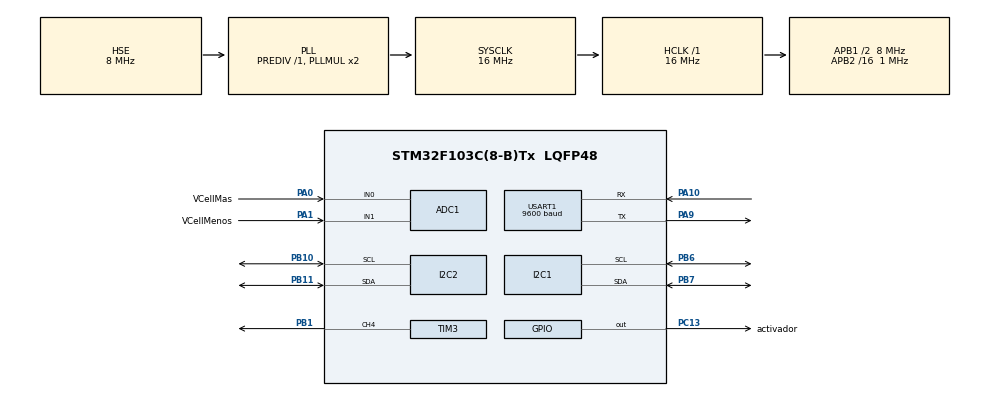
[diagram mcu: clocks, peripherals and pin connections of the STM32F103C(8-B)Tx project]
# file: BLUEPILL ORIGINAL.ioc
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ADC1.Channel-0\#ChannelRegularConversion=ADC_CHANNEL_0
ADC1.Channel-1\#ChannelRegularConversion=ADC_CHANNEL_1
ADC1.ContinuousConvMode=ENABLE
ADC1.EnableInjectedConversion=DISABLE
ADC1.InjNumberOfConversion=2
ADC1.NbrOfConversion=2
ADC1.NbrOfConversionFlag=1
ADC1.Rank-0\#ChannelRegularConversion=1
ADC1.Rank-1\#ChannelRegularConversion=2
ADC1.SamplingTime-0\#ChannelRegularConversion=ADC_SAMPLETIME_239CYCLES_5
ADC1.SamplingTime-1\#ChannelRegularConversion=ADC_SAMPLETIME_239CYCLES_5
ADC1.master=1
Dma.ADC1.0.Direction=DMA_PERIPH_TO_MEMORY
Dma.ADC1.0.Instance=DMA1_Channel1
Dma.ADC1.0.MemDataAlignment=DMA_MDATAALIGN_HALFWORD
Dma.ADC1.0.MemInc=DMA_MINC_ENABLE
Dma.ADC1.0.Mode=DMA_CIRCULAR
Dma.ADC1.0.PeriphDataAlignment=DMA_PDATAALIGN_HALFWORD
Dma.ADC1.0.PeriphInc=DMA_PINC_DISABLE
Dma.ADC1.0.Priority=DMA_PRIORITY_LOW
Dma.Request0=ADC1
Mcu.Family=STM32F1
Mcu.Name=STM32F103C(8-B)Tx
Mcu.Package=LQFP48
NVIC.ADC1_2_IRQn=true\:1\:0\:true\:false\:true\:true\:true\:true
NVIC.DMA1_Channel1_IRQn=true\:1\:0\:true\:false\:true\:false\:true\:true
NVIC.PriorityGroup=NVIC_PRIORITYGROUP_4
NVIC.TIM2_IRQn=true\:0\:0\:false\:false\:true\:true\:true\:true
NVIC.TIM3_IRQn=true\:0\:0\:false\:false\:true\:true\:true\:true
PA0-WKUP.GPIO_Label=VCellMas
PA0-WKUP.Signal=ADCx_IN0
PA1.GPIO_Label=VCellMenos
PA1.Signal=ADCx_IN1
PA10.Mode=Asynchronous
PA10.Signal=USART1_RX
PA13.Mode=Serial_Wire
PA13.Signal=SYS_JTMS-SWDIO
PA14.Mode=Serial_Wire
PA14.Signal=SYS_JTCK-SWCLK
PA9.Mode=Asynchronous
PA9.Signal=USART1_TX
PB1.Signal=S_TIM3_CH4
PB10.Mode=I2C
PB10.Signal=I2C2_SCL
PB11.Mode=I2C
PB11.Signal=I2C2_SDA
PB6.Mode=I2C
PB6.Signal=I2C1_SCL
PB7.Mode=I2C
PB7.Signal=I2C1_SDA
PC13-TAMPER-RTC.GPIO_Label=activador
PC13-TAMPER-RTC.Signal=GPIO_Output
PD0-OSC_IN.Mode=HSE-External-Oscillator
PD0-OSC_IN.Signal=RCC_OSC_IN
PD1-OSC_OUT.Mode=HSE-External-Oscillator
PD1-OSC_OUT.Signal=RCC_OSC_OUT
ProjectManager.HeapSize=0x200
ProjectManager.StackSize=0x400
ProjectManager.TargetToolchain=STM32CubeIDE
RCC.ADCPresc=RCC_ADCPCLK2_DIV8
RCC.AHBFreq_Value=16000000
RCC.APB1CLKDivider=RCC_HCLK_DIV2
RCC.APB1Freq_Value=8000000
RCC.APB1TimFreq_Value=16000000
RCC.APB2CLKDivider=RCC_HCLK_DIV16
RCC.APB2Freq_Value=1000000
RCC.APB2TimFreq_Value=2000000
RCC.HCLKFreq_Value=16000000
RCC.PLLSourceVirtual=RCC_PLLSOURCE_HSE
RCC.SYSCLKFreq_VALUE=16000000
RCC.SYSCLKSource=RCC_SYSCLKSOURCE_PLLCLK
RCC.USBFreq_Value=16000000
SH.ADCx_IN0.0=ADC1_IN0,IN0
SH.ADCx_IN1.0=ADC1_IN1,IN1
SH.S_TIM3_CH4.0=TIM3_CH4,PWM Generation4 CH4
TIM2.Period=2000-1
TIM2.Prescaler=8400-1
TIM3.Channel-PWM\ Generation4\ CH4=TIM_CHANNEL_4
TIM3.Period=490
USART1.BaudRate=9600
USART1.VirtualMode=VM_ASYNC
VP_TIM2_VS_ClockSourceINT.Mode=Internal
board=custom

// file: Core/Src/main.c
#include "main.h"

/* USER CODE BEGIN PTD */

//Aquí defines nuevos tipos de datos (typedef)
/* USER CODE END PTD */

/* USER CODE BEGIN PV */
  typedef enum { false, true } bool;

  uint16_t rawValues[2];

  uint16_t cell_mas =0;
  uint16_t cell_menos = 0;
  uint16_t celdas = 0;
  int32_t totalizadoCoulomb = 0;         // Acumulador de carga
  bool cortoEnclavamientoDSG = false;
  bool cortoEnclavamientoCHG = false;

  BQ29330_Device bq = { .hi2c = &hi2c1 };

  INA219_t ina219;
  uint16_t vbus, vshunt;
  int16_t current = 0;

/* USER CODE END PV */

void SystemClock_Config(void);
/* USER CODE BEGIN PFP */

uint8_t conv_complete = 0;
void HAL_ADC_ConvCpltCallback(ADC_HandleTypeDef* hadc){ conv_complete=1; }
void leer_promediado(uint16_t *cell_mas,uint16_t *cell_menos, int16_t *current);
HAL_StatusTypeDef BMSreadAll();
void sendMSGS(HAL_StatusTypeDef statusI2c);
uint16_t escalar_tension_adc(uint16_t cell_mas,uint16_t cell_menos);
void BMSlogic(uint16_t batery);
void batteryProtection(uint16_t batery);
void status_reset();

/* USER CODE END PFP */

int main(void)
{

  /* MCU Configuration--------------------------------------------------------*/

  /* Reset of all peripherals, Initializes the Flash interface and the Systick. */
  HAL_Init();

  /* Configure the system clock */
  SystemClock_Config();

  /* Initialize all configured peripherals */
  MX_GPIO_Init();
  MX_DMA_Init();
  MX_USART1_UART_Init();
  MX_ADC1_Init();
  MX_TIM3_Init();
  MX_I2C1_Init();
  MX_I2C2_Init();
  MX_TIM2_Init();
  /* USER CODE BEGIN 2 */
//timer
  HAL_TIM_PWM_Start(&htim3, TIM_CHANNEL_4);
  __HAL_TIM_SET_COMPARE(&htim3, TIM_CHANNEL_4, htim3.Init.Period/2);
 // HAL_TIM_BASE_START_IT(&htim2);

  //adc
  HAL_ADC_Start_DMA(&hadc1, (uint32_t *) rawValues, 2);

// INA219
  while(!INA219_Init(&ina219, &hi2c2, INA219_ADDRESS));

  //INA219_Init(&ina219, &hi2c2, INA219_ADDRESS);
  //INA219_setCalibration_32V_2A(&ina219);
  INA219_setCalibration_32V_1A(&ina219);
  //INA219_setCalibration_16V_400mA(&ina219);
  HAL_StatusTypeDef statusI2c = 0x00;

  //escribo al bq
  BMSlogic(celdas);

  /* USER CODE END 2 */
   BQ29330_config();

  /* Infinite loop */
  /* USER CODE BEGIN WHILE */
while (1) {

	// --- proceso a medir ---
	leer_promediado(&cell_mas, &cell_menos, &current);
    celdas = escalar_tension_adc(cell_mas, cell_menos);
	totalizadoCoulomb = totalizadoCoulomb + current;

    statusI2c = BMSreadAll();
    //sendMSGS(statusI2c);

	BMSlogic(celdas);

	if(statusI2c == 0){
		sendUsartMsg("", 						celdas);
		sendUsartMsgInt("", 					current/11.3);
		sendUsartMsgLongUint("", 				totalizadoCoulomb);
	} else{
		// si hay error de i2c del bq mando unos
		sendUsartMsg("", 						1);
		sendUsartMsg("", 						1);
		sendUsartMsg("", 						1);
	}

    if(celdas > 8100){
        BQ29330_WriteRegister(BQ29330_OUTPUT_CONTROL, bq.BQ29330_output_control &= ~(1U << CHG_BIT));
        cortoEnclavamientoCHG = true;
    }

	HAL_GPIO_TogglePin(GPIOC, GPIO_PIN_13);
	HAL_Delay(300);

    /* USER CODE END WHILE */

	}
}

void SystemClock_Config(void)
{
  RCC_OscInitTypeDef RCC_OscInitStruct = {0};
  RCC_ClkInitTypeDef RCC_ClkInitStruct = {0};
  RCC_PeriphCLKInitTypeDef PeriphClkInit = {0};

  /** Initializes the RCC Oscillators according to the specified parameters
  * in the RCC_OscInitTypeDef structure.
  */
  RCC_OscInitStruct.OscillatorType = RCC_OSCILLATORTYPE_HSE;
  RCC_OscInitStruct.HSEState = RCC_HSE_ON;
  RCC_OscInitStruct.HSEPredivValue = RCC_HSE_PREDIV_DIV1;
  RCC_OscInitStruct.HSIState = RCC_HSI_ON;
  RCC_OscInitStruct.PLL.PLLState = RCC_PLL_ON;
  RCC_OscInitStruct.PLL.PLLSource = RCC_PLLSOURCE_HSE;
  RCC_OscInitStruct.PLL.PLLMUL = RCC_PLL_MUL2;
  if (HAL_RCC_OscConfig(&RCC_OscInitStruct) != HAL_OK)
  {
    Error_Handler();
  }

  /** Initializes the CPU, AHB and APB buses clocks
  */
  RCC_ClkInitStruct.ClockType = RCC_CLOCKTYPE_HCLK|RCC_CLOCKTYPE_SYSCLK
                              |RCC_CLOCKTYPE_PCLK1|RCC_CLOCKTYPE_PCLK2;
  RCC_ClkInitStruct.SYSCLKSource = RCC_SYSCLKSOURCE_PLLCLK;
  RCC_ClkInitStruct.AHBCLKDivider = RCC_SYSCLK_DIV1;
  RCC_ClkInitStruct.APB1CLKDivider = RCC_HCLK_DIV2;
  RCC_ClkInitStruct.APB2CLKDivider = RCC_HCLK_DIV16;

  if (HAL_RCC_ClockConfig(&RCC_ClkInitStruct, FLASH_LATENCY_0) != HAL_OK)
  {
    Error_Handler();
  }
  PeriphClkInit.PeriphClockSelection = RCC_PERIPHCLK_ADC;
  PeriphClkInit.AdcClockSelection = RCC_ADCPCLK2_DIV8;
  if (HAL_RCCEx_PeriphCLKConfig(&PeriphClkInit) != HAL_OK)
  {
    Error_Handler();
  }
}

/* USER CODE BEGIN 4 */

void leer_promediado(uint16_t *cell_mas,uint16_t *cell_menos, int16_t *current) {
	uint32_t cell_mas_total = 0;
	uint32_t cell_menos_total = 0;
	int32_t current_total = 0;

	for(uint8_t i = 0; i < NUM_SAMPLES ; i++) {
	    while(!conv_complete);
	    *cell_mas = (uint16_t) rawValues[0];
	    *cell_menos = (uint16_t) rawValues[1];
	    *current = INA219_ReadCurrent_raw(&ina219);

	    cell_mas_total += *cell_mas;
	    cell_menos_total += *cell_menos;
	    current_total += *current;
	    conv_complete = 0;
	}

	// Promedio final
	*cell_mas = cell_mas_total / NUM_SAMPLES;
	*cell_menos = cell_menos_total / NUM_SAMPLES;
	*current = current_total / NUM_SAMPLES;
}

uint16_t escalar_tension_adc(uint16_t cell_mas,uint16_t cell_menos){
	cell_menos = cell_menos * 3.3 / 4.096; //* 1.67;
	cell_mas = cell_mas * 3.3 / 4.096 * 1.147;
    celdas = (cell_mas - cell_menos);
	if(bq.BQ29330_function_control == 3 || bq.BQ29330_function_control == 5 || bq.BQ29330_function_control == 7){
		return celdas * 18;
	}
	return (975 - celdas)/0.15;
}

HAL_StatusTypeDef BMSreadAll(){
	HAL_StatusTypeDef statusI2c = 0x00;
	statusI2c |=  BQ29330_ReadFunctionControl(BQ29330_STATUS, 					&bq.BQ29330_status);
	statusI2c |=  BQ29330_ReadFunctionControl(BQ29330_OUTPUT_CONTROL, 			&bq.BQ29330_output_control);
	statusI2c |=  BQ29330_ReadFunctionControl(BQ29330_STATE_CONTROL, 			&bq.BQ29330_state_control);
	statusI2c |=  BQ29330_ReadFunctionControl(BQ29330_FUNCTION_CONTROL, 		&bq.BQ29330_function_control);
	statusI2c |=  BQ29330_ReadFunctionControl(BQ29330_CELL, 					&bq.BQ29330_cell);
	statusI2c |=  BQ29330_ReadFunctionControl(BQ29330_OLV, 						&bq.BQ29330_OLV);
	statusI2c |=  BQ29330_ReadFunctionControl(BQ29330_OLD, 						&bq.BQ29330_OLD);
	statusI2c |=  BQ29330_ReadFunctionControl(BQ29330_SCC, 						&bq.BQ29330_SCC);
	statusI2c |=  BQ29330_ReadFunctionControl(BQ29330_SCD, 						&bq.BQ29330_SCD);
	return statusI2c;
}

void sendMSGS(HAL_StatusTypeDef statusI2c) {
	//bms
	sendUsartMsg("\n statusI2c: ", 						statusI2c);
	sendUsartMsg("\nSTATUS REGISTER : ", 				bq.BQ29330_status);
	sendUsartMsg("OUTPUT_CONTROL : ", 					bq.BQ29330_output_control);
	sendUsartMsg("STATE_CONTROL : ", 					bq.BQ29330_state_control);
	sendUsartMsg("FUNCTION_CONTROL : ", 				bq.BQ29330_function_control);
	sendUsartMsg("OLV (Overload voltage threshold): ", 	bq.BQ29330_OLV);
	sendUsartMsg("OLD (Overload delay time): ", 		bq.BQ29330_OLD);
	sendUsartMsg("SCC (Short circuit in charge): ", 	bq.BQ29330_SCC);
	sendUsartMsg("SCD (Short circuit in discharge): ", 	bq.BQ29330_SCD);
	/*
	sendUsartMsg("CELL : ", 							bq.BQ29330_cell);
	*/

}

void BMSlogic(uint16_t batery){
	status_reset();
	//batteryProtection(batery);
}

//cierro las llaves por OV o UV
void batteryProtection(uint16_t batery){
	//corto la descarga
    if( batery < 6000){
    //if( celdas < 6000 && cortoEnclavamientoDSG == false){
        BQ29330_WriteRegister(BQ29330_OUTPUT_CONTROL, bq.BQ29330_output_control &= ~(1U << DSG_BIT) );
        cortoEnclavamientoDSG = true;
    }

    //agrego histeresis para volver a descargar
    if( celdas > 6800 && cortoEnclavamientoDSG == true){
        BQ29330_WriteRegister(BQ29330_OUTPUT_CONTROL, bq.BQ29330_output_control |= (1U << DSG_BIT));
        cortoEnclavamientoDSG = false;
    }

    //corto la carga
    if(celdas > 8300){
        BQ29330_WriteRegister(BQ29330_OUTPUT_CONTROL, bq.BQ29330_output_control &= ~(1U << CHG_BIT));
        cortoEnclavamientoCHG = true;
    }
    //agrego histeresis para volver a cargar
    if( celdas < 7500 && cortoEnclavamientoCHG == true){
        BQ29330_WriteRegister(BQ29330_OUTPUT_CONTROL, bq.BQ29330_output_control |= (1U << CHG_BIT));
        cortoEnclavamientoCHG = false;
    }

}

//reseteo el estatus register
void status_reset(){
	if(bq.BQ29330_status != 0){
        BQ29330_WriteRegister(BQ29330_OUTPUT_CONTROL, bq.BQ29330_output_control &= 0b11111110);
        HAL_Delay(10);
        BQ29330_WriteRegister(BQ29330_OUTPUT_CONTROL, bq.BQ29330_output_control |= 0b00000001);
        HAL_Delay(10);
        BQ29330_WriteRegister(BQ29330_OUTPUT_CONTROL, bq.BQ29330_output_control &= 0b11111110);
	}
}

/* USER CODE END 4 */

void Error_Handler(void)
{
	__disable_irq();
	while (1) {
	}
}
